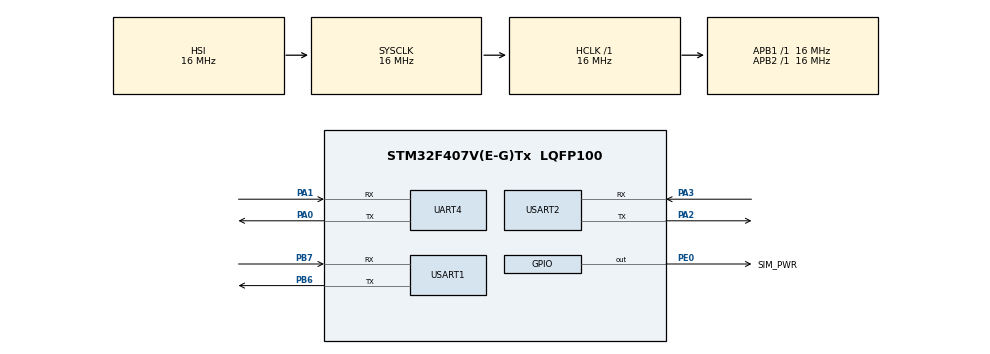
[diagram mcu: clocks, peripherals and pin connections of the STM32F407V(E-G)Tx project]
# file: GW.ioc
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Dma.Request0=USART2_RX
Dma.Request1=USART1_RX
Dma.USART1_RX.1.Direction=DMA_PERIPH_TO_MEMORY
Dma.USART1_RX.1.FIFOMode=DMA_FIFOMODE_DISABLE
Dma.USART1_RX.1.Instance=DMA2_Stream2
Dma.USART1_RX.1.MemDataAlignment=DMA_MDATAALIGN_BYTE
Dma.USART1_RX.1.MemInc=DMA_MINC_ENABLE
Dma.USART1_RX.1.Mode=DMA_NORMAL
Dma.USART1_RX.1.PeriphDataAlignment=DMA_PDATAALIGN_BYTE
Dma.USART1_RX.1.PeriphInc=DMA_PINC_DISABLE
Dma.USART1_RX.1.Priority=DMA_PRIORITY_LOW
Dma.USART2_RX.0.Direction=DMA_PERIPH_TO_MEMORY
Dma.USART2_RX.0.FIFOMode=DMA_FIFOMODE_DISABLE
Dma.USART2_RX.0.Instance=DMA1_Stream5
Dma.USART2_RX.0.MemDataAlignment=DMA_MDATAALIGN_BYTE
Dma.USART2_RX.0.MemInc=DMA_MINC_ENABLE
Dma.USART2_RX.0.Mode=DMA_NORMAL
Dma.USART2_RX.0.PeriphDataAlignment=DMA_PDATAALIGN_BYTE
Dma.USART2_RX.0.PeriphInc=DMA_PINC_DISABLE
Dma.USART2_RX.0.Priority=DMA_PRIORITY_LOW
Mcu.Family=STM32F4
Mcu.Name=STM32F407V(E-G)Tx
Mcu.Package=LQFP100
NVIC.DMA1_Stream5_IRQn=true\:0\:0\:false\:false\:true\:false\:true\:true
NVIC.DMA2_Stream2_IRQn=true\:0\:0\:true\:false\:true\:false\:true\:true
NVIC.PriorityGroup=NVIC_PRIORITYGROUP_4
NVIC.USART1_IRQn=true\:0\:0\:false\:false\:true\:true\:true\:true
NVIC.USART2_IRQn=true\:0\:0\:true\:false\:true\:true\:true\:true
PA0-WKUP.Mode=Asynchronous
PA0-WKUP.Signal=UART4_TX
PA1.Mode=Asynchronous
PA1.Signal=UART4_RX
PA13.Mode=Serial_Wire
PA13.Signal=SYS_JTMS-SWDIO
PA14.Mode=Serial_Wire
PA14.Signal=SYS_JTCK-SWCLK
PA2.Mode=Asynchronous
PA2.Signal=USART2_TX
PA3.Mode=Asynchronous
PA3.Signal=USART2_RX
PB6.Mode=Asynchronous
PB6.Signal=USART1_TX
PB7.Mode=Asynchronous
PB7.Signal=USART1_RX
PE0.GPIO_Label=SIM_PWR
PE0.GPIO_ModeDefaultOutputPP=GPIO_MODE_OUTPUT_PP
PE0.GPIO_PuPd=GPIO_PULLUP
PE0.PinState=GPIO_PIN_SET
PE0.Signal=GPIO_Output
ProjectManager.HeapSize=0x200
ProjectManager.StackSize=0x400
ProjectManager.TargetToolchain=STM32CubeIDE
RCC.AHBFreq_Value=16000000
RCC.APB1Freq_Value=16000000
RCC.APB1TimFreq_Value=16000000
RCC.APB2Freq_Value=16000000
RCC.APB2TimFreq_Value=16000000
RCC.CortexFreq_Value=16000000
RCC.HCLKFreq_Value=16000000
RCC.HSE_VALUE=25000000
RCC.HSI_VALUE=16000000
RCC.SYSCLKFreq_VALUE=16000000
RCC.VCOOutputFreq_Value=192000000
UART4.VirtualMode=Asynchronous
USART1.VirtualMode=VM_ASYNC
USART2.VirtualMode=VM_ASYNC
board=custom

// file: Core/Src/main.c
/* USER CODE BEGIN Header */
/**
 ******************************************************************************
 * @file           : main.c
 * @brief          : Main program body
 ******************************************************************************
 * @attention
 *
 * Copyright (c) 2024 STMicroelectronics.
 * All rights reserved.
 *
 * This software is licensed under terms that can be found in the LICENSE file
 * in the root directory of this software component.
 * If no LICENSE file comes with this software, it is provided AS-IS.
 *
 ******************************************************************************
 */
/* USER CODE END Header */
#include "main.h"

/* USER CODE BEGIN Includes */
#include <string.h>
#include <stdio.h>
#include <stdlib.h>
#include "midlib.h"
#include "lowlib.h"
/* USER CODE END Includes */

UART_HandleTypeDef huart4;
UART_HandleTypeDef huart1;
UART_HandleTypeDef huart2;
DMA_HandleTypeDef hdma_usart1_rx;
DMA_HandleTypeDef hdma_usart2_rx;

void SystemClock_Config(void);
static void MX_GPIO_Init(void);
static void MX_DMA_Init(void);
static void MX_UART4_Init(void);
static void MX_USART2_UART_Init(void);
static void MX_USART1_UART_Init(void);
/* USER CODE BEGIN PFP */
SIM_HandleTypeDef *simPtr;
SIM_HTTPTypeDef http = { 0 };
SIM_DataTypeDef simData = { 0 };
/* USER CODE END PFP */

/* USER CODE BEGIN 0 */

UART_HandleTypeDef huart2;

#define MAX_LENGTH 251 // �?ộ dài tối đa của chuỗi
UART_HandleTypeDef huart2;
DMA_HandleTypeDef hdma_usart2_rx;
char buffer[MAX_LENGTH];

void HAL_UARTEx_RxEventCallback(UART_HandleTypeDef *huart, uint16_t Size) {
	if (huart->Instance == USART1) {
		// SENSOR_process(sensorPtr, Size);
		SIM_checkEvent(simPtr, Size);
	}
}

void removeFirstChar(char *str) {
	int length = strlen(str);

	if (length > 0) {
		for (int i = 0; i < length - 1; i++) {
			str[i] = str[i + 1]; // Di chuyển mỗi ký tự lên một vị trí
		}
		str[length - 1] = '\0'; // Ghi đè ký tự cuối cùng bằng '\0' để đảm bảo chuỗi kết thúc đúng
	}
}

uint8_t flagUCA = 0;
void HAL_UART_RxCpltCallback(UART_HandleTypeDef *huart) {
	if (huart->Instance == USART2) {

		HAL_UART_Transmit(&huart4, "Received: \n", sizeof("Received: \n"),
		HAL_MAX_DELAY);
		HAL_UART_Transmit(&huart4, (uint8_t*) buffer, strlen((uint8_t*) buffer),
		HAL_MAX_DELAY);
		HAL_UART_Transmit(&huart4, "\n", sizeof("\n"),
		HAL_MAX_DELAY);
		flagUCA = 1;
//		removeFirstChar(buffer);
//
//		SIM_getData(simPtr, SIM_DR_TIME, &simData);
//
//		memset(http.data, '\0', SIM_HTTP_DATA_SIZE);
//		snprintf(http.data, SIM_HTTP_DATA_SIZE,
//				"{\"TIME\":\"%s\",\"PN\":\"%s\",%s", simData.timezone,
//				simData.simPhone, buffer);
//		HAL_UART_Transmit(&huart4, "Send to data: \n",
//				sizeof("Send to data: \n"),
//				HAL_MAX_DELAY);
//		HAL_UART_Transmit(&huart4, (uint8_t*) http.data,
//				strlen((uint8_t*) http.data),
//				HAL_MAX_DELAY);
//		HAL_UART_Transmit(&huart4, "\n", sizeof("\n"),
//		HAL_MAX_DELAY);
//		SIM_sendHTTP(simPtr, &http);
//
//		// Reset buffer
//		memset(buffer, "\0", strlen((uint8_t*) buffer));
//
//		HAL_UART_Receive_DMA(&huart2, (uint8_t*) buffer, MAX_LENGTH);
	}
}

void SIM_Init(void) {

	printf("%s\n", __FUNCTION__);
	/* Khởi tạo biến tĩnh để các giá trị khởi tạo không bị mất đi */
	static SIM7600_HandleTypeDef sim7600 = { 0 };

	/* Khởi tạo giá trị cho con tr�?, biến con tr�? là biến toàn cục */
	simPtr = (SIM_HandleTypeDef*) &sim7600;

	/* Khởi tạo giá trị của các member của struct */
	sim7600.hdma = &hdma_usart1_rx;
	sim7600.huart = &huart1;
	sim7600.smsCnt = 0;
	sim7600.smsPos = 0;
//    sim7600.pwrkeyPin = SIM7600_PWRKEY_Pin;
//    sim7600.pwrkeyPort = SIM7600_PWRKEY_GPIO_Port;
//    sim7600.resetPort = SIM7600_RESET_GPIO_Port;
//    sim7600.resetPin = SIM7600_RESET_Pin;
//    sim7600.sleepPort = SIM7600_DTR_GPIO_Port;
//    sim7600.sleepPin = SIM7600_DTR_Pin;
//    sim7600.powerEnPort = SIM7600_PWREN_GPIO_Port;
//    sim7600.powerEnPin = SIM7600_PWREN_Pin;
	sim7600.parent.CSR = 0;
	sim7600.parent.simSendATCommand = (simSendATCommand) &SIM7600_sendATCommand;
	sim7600.parent.simWakeup = (simWakeup) &SIM7600_wakeup;
	sim7600.parent.simSleep = (simSleep) &SIM7600_sleep;
	sim7600.parent.simInit = (simInit) &SIM7600_init;
	sim7600.parent.simSetFunction = (simSetFunction) &SIM7600_setFunction;
	sim7600.parent.simProcess = (simProcess) &SIM7600_process;
	sim7600.parent.simCheckEvent = (simCheckEvent) &SIM7600_checkEvent;
	sim7600.parent.simReadSMS = (simReadSMS) &SIM7600_readSMS;
	sim7600.parent.simSendSMS = (simSendSMS) &SIM7600_sendSMS;
	sim7600.parent.simGetSMSCounter = (simGetSMSCounter) &SIM7600_getSMSCounter;
	sim7600.parent.simCallUSSD = (simCallUSSD) &SIM7600_callUSSD;
	sim7600.parent.simGetRSSI = (simGetRSSI) &SIM7600_getRSSI;
	sim7600.parent.simGetTemperature =
			(simGetTemperature) &SIM7600_getTemperature;
	sim7600.parent.simGetNwtype = (simGetNwtype) &SIM7600_getNetworkType;
	sim7600.parent.simGetSimPhone = (simGetSimPhone) &SIM7600_getSimPhone;
	sim7600.parent.simGetIMEI = (simGetIMEI) &SIM7600_getIMEI;
	sim7600.parent.simGetLocalTime = (simGetLocalTime) &SIM7600_getLocalTime;
	sim7600.parent.simGetFileSize = (simGetFileSize) &SIM7600_getFileSize;
	sim7600.parent.simDeleteFile = (simDeleteFile) &SIM7600_deleteFile;
	sim7600.parent.simSetLocalTimeAuto =
			(simSetLocalTimeAuto) &SIM7600_setLocalTimeAuto;
	sim7600.parent.simSetLocalTimeManual =
			(simSetLocalTimeManual) &SIM7600_setLocalTimeManual;
	sim7600.parent.simSelectPhonebookMem =
			(simSelectPhonebookMem) &SIM7600_selectPhonebookMem;
	sim7600.parent.simSavePhonebook = (simSavePhonebook) &SIM7600_savePhonebook;
	sim7600.parent.simReadPhonebook = (simReadPhonebook) &SIM7600_readPhonebook;
	sim7600.parent.simFindPhonebook = (simFindPhonebook) &SIM7600_findPhonebook;
	sim7600.parent.simSendHTTP = (simSendHTTP) &SIM7600_sendHTTP;
	sim7600.parent.simGetFileHTTP = (simGetFileHTTP) &SIM7600_getFileHTTP;

	/* Khởi tạo module SIM */
	if (THT_OK != SIM_init(simPtr)) {
		printf("Sim init fail\n");
		HAL_UART_Transmit(&huart4, "SIM START ERROR: \n",
				sizeof("SIM START ERROR: \n"), HAL_MAX_DELAY);
	} else {
		HAL_UART_Transmit(&huart4, "SIM START OK: \n",
				sizeof("SIM START OK: \n"), HAL_MAX_DELAY);
		char pTime[100] = { };
		/* �?ưa module SIM vào chế độ hoạt động đầy đủ chức năng */
		SIM_setFunction(simPtr, SIM_MODE_FULL);
		SIM_setLocalTimeAuto(simPtr);
		SIM_getLocalTime(simPtr, pTime, 22);
		SIM_getData(simPtr,
				SIM_DR_IMEI | SIM_DR_RSSI | SIM_DR_NWTYPE | SIM_DR_SIMPHONE
						| SIM_DR_TEMP, &simData);
	}
}
/* USER CODE END 0 */

int main(void) {

	/* MCU Configuration--------------------------------------------------------*/

	/* Reset of all peripherals, Initializes the Flash interface and the Systick. */
	HAL_Init();

	/* Configure the system clock */
	SystemClock_Config();

	/* Initialize all configured peripherals */
	MX_GPIO_Init();
	MX_DMA_Init();
	MX_UART4_Init();
	MX_USART2_UART_Init();
	MX_USART1_UART_Init();
	/* USER CODE BEGIN 2 */

	HAL_UART_Transmit(&huart4, "system start \n", sizeof("system start \n"),
	HAL_MAX_DELAY);

	HAL_Delay(5000);

	HAL_UART_Transmit(&huart4, "debug start \n", sizeof("debug start \n"),
	HAL_MAX_DELAY);

	SIM_Init();
	HTTP_init(&http,
			"https://capacitor-129e8-default-rtdb.firebaseio.com/halo.json",
			strlen(
					"https://capacitor-129e8-default-rtdb.firebaseio.com/halo.json"),
			HTTP_URL_URI_RESULT);

//	memset(Rx_data, '\0', 600);
//
//	HAL_UARTEx_ReceiveToIdle_DMA(&huart2, (uint8_t*) Rx_data, 600);
//	__HAL_DMA_DISABLE_IT(&hdma_usart2_rx, DMA_IT_HT);

	HAL_UART_Receive_DMA(&huart2, (uint8_t*) buffer, MAX_LENGTH);

	/* USER CODE END 2 */

	/* Infinite loop */
	while (1) {

		/* USER CODE BEGIN 3 */
		if (flagUCA == 1) {
			flagUCA = 0;
			removeFirstChar(buffer);

			SIM_getData(simPtr, SIM_DR_TIME, &simData);

			memset(http.data, '\0', SIM_HTTP_DATA_SIZE);
			snprintf(http.data, SIM_HTTP_DATA_SIZE,
					"{\"TIME\":\"%s\",\"PN\":\"%s\",%s", simData.timezone,
					simData.simPhone, buffer);
			HAL_UART_Transmit(&huart4, "Send to data: \n",
					sizeof("Send to data: \n"),
					HAL_MAX_DELAY);
			HAL_UART_Transmit(&huart4, (uint8_t*) http.data,
					strlen((uint8_t*) http.data),
					HAL_MAX_DELAY);
			HAL_UART_Transmit(&huart4, "\n", sizeof("\n"),
			HAL_MAX_DELAY);
			SIM_sendHTTP(simPtr, &http);

			// Reset buffer
			memset(buffer, "\0", strlen((uint8_t*) buffer));

			HAL_UART_Receive_DMA(&huart2, (uint8_t*) buffer, MAX_LENGTH);
		}
	}
	/* USER CODE END 3 */
}

void SystemClock_Config(void) {
	RCC_OscInitTypeDef RCC_OscInitStruct = { 0 };
	RCC_ClkInitTypeDef RCC_ClkInitStruct = { 0 };

	/** Configure the main internal regulator output voltage
	 */
	__HAL_RCC_PWR_CLK_ENABLE();
	__HAL_PWR_VOLTAGESCALING_CONFIG(PWR_REGULATOR_VOLTAGE_SCALE1);

	/** Initializes the RCC Oscillators according to the specified parameters
	 * in the RCC_OscInitTypeDef structure.
	 */
	RCC_OscInitStruct.OscillatorType = RCC_OSCILLATORTYPE_HSI;
	RCC_OscInitStruct.HSIState = RCC_HSI_ON;
	RCC_OscInitStruct.HSICalibrationValue = RCC_HSICALIBRATION_DEFAULT;
	RCC_OscInitStruct.PLL.PLLState = RCC_PLL_NONE;
	if (HAL_RCC_OscConfig(&RCC_OscInitStruct) != HAL_OK) {
		Error_Handler();
	}

	/** Initializes the CPU, AHB and APB buses clocks
	 */
	RCC_ClkInitStruct.ClockType = RCC_CLOCKTYPE_HCLK | RCC_CLOCKTYPE_SYSCLK
			| RCC_CLOCKTYPE_PCLK1 | RCC_CLOCKTYPE_PCLK2;
	RCC_ClkInitStruct.SYSCLKSource = RCC_SYSCLKSOURCE_HSI;
	RCC_ClkInitStruct.AHBCLKDivider = RCC_SYSCLK_DIV1;
	RCC_ClkInitStruct.APB1CLKDivider = RCC_HCLK_DIV1;
	RCC_ClkInitStruct.APB2CLKDivider = RCC_HCLK_DIV1;

	if (HAL_RCC_ClockConfig(&RCC_ClkInitStruct, FLASH_LATENCY_0) != HAL_OK) {
		Error_Handler();
	}
}

static void MX_UART4_Init(void) {

	huart4.Instance = UART4;
	huart4.Init.BaudRate = 115200;
	huart4.Init.WordLength = UART_WORDLENGTH_8B;
	huart4.Init.StopBits = UART_STOPBITS_1;
	huart4.Init.Parity = UART_PARITY_NONE;
	huart4.Init.Mode = UART_MODE_TX_RX;
	huart4.Init.HwFlowCtl = UART_HWCONTROL_NONE;
	huart4.Init.OverSampling = UART_OVERSAMPLING_16;
	if (HAL_UART_Init(&huart4) != HAL_OK) {
		Error_Handler();
	}

}

static void MX_USART1_UART_Init(void) {

	huart1.Instance = USART1;
	huart1.Init.BaudRate = 115200;
	huart1.Init.WordLength = UART_WORDLENGTH_8B;
	huart1.Init.StopBits = UART_STOPBITS_1;
	huart1.Init.Parity = UART_PARITY_NONE;
	huart1.Init.Mode = UART_MODE_TX_RX;
	huart1.Init.HwFlowCtl = UART_HWCONTROL_NONE;
	huart1.Init.OverSampling = UART_OVERSAMPLING_16;
	if (HAL_UART_Init(&huart1) != HAL_OK) {
		Error_Handler();
	}

}

static void MX_USART2_UART_Init(void) {

	huart2.Instance = USART2;
	huart2.Init.BaudRate = 115200;
	huart2.Init.WordLength = UART_WORDLENGTH_8B;
	huart2.Init.StopBits = UART_STOPBITS_1;
	huart2.Init.Parity = UART_PARITY_NONE;
	huart2.Init.Mode = UART_MODE_TX_RX;
	huart2.Init.HwFlowCtl = UART_HWCONTROL_NONE;
	huart2.Init.OverSampling = UART_OVERSAMPLING_16;
	if (HAL_UART_Init(&huart2) != HAL_OK) {
		Error_Handler();
	}

}

static void MX_DMA_Init(void) {

	/* DMA controller clock enable */
	__HAL_RCC_DMA1_CLK_ENABLE();
	__HAL_RCC_DMA2_CLK_ENABLE();

	/* DMA interrupt init */
	/* DMA1_Stream5_IRQn interrupt configuration */
	HAL_NVIC_SetPriority(DMA1_Stream5_IRQn, 0, 0);
	HAL_NVIC_EnableIRQ(DMA1_Stream5_IRQn);
	/* DMA2_Stream2_IRQn interrupt configuration */
	HAL_NVIC_SetPriority(DMA2_Stream2_IRQn, 0, 0);
	HAL_NVIC_EnableIRQ(DMA2_Stream2_IRQn);

}

static void MX_GPIO_Init(void) {
	GPIO_InitTypeDef GPIO_InitStruct = { 0 };

	/* GPIO Ports Clock Enable */
	__HAL_RCC_GPIOA_CLK_ENABLE();
	__HAL_RCC_GPIOB_CLK_ENABLE();
	__HAL_RCC_GPIOE_CLK_ENABLE();

	/*Configure GPIO pin Output Level */
	HAL_GPIO_WritePin(SIM_PWR_GPIO_Port, SIM_PWR_Pin, GPIO_PIN_SET);

	/*Configure GPIO pin : SIM_PWR_Pin */
	GPIO_InitStruct.Pin = SIM_PWR_Pin;
	GPIO_InitStruct.Mode = GPIO_MODE_OUTPUT_PP;
	GPIO_InitStruct.Pull = GPIO_PULLUP;
	GPIO_InitStruct.Speed = GPIO_SPEED_FREQ_LOW;
	HAL_GPIO_Init(SIM_PWR_GPIO_Port, &GPIO_InitStruct);

}

void Error_Handler(void) {
	__disable_irq();
	while (1) {
	}
}
